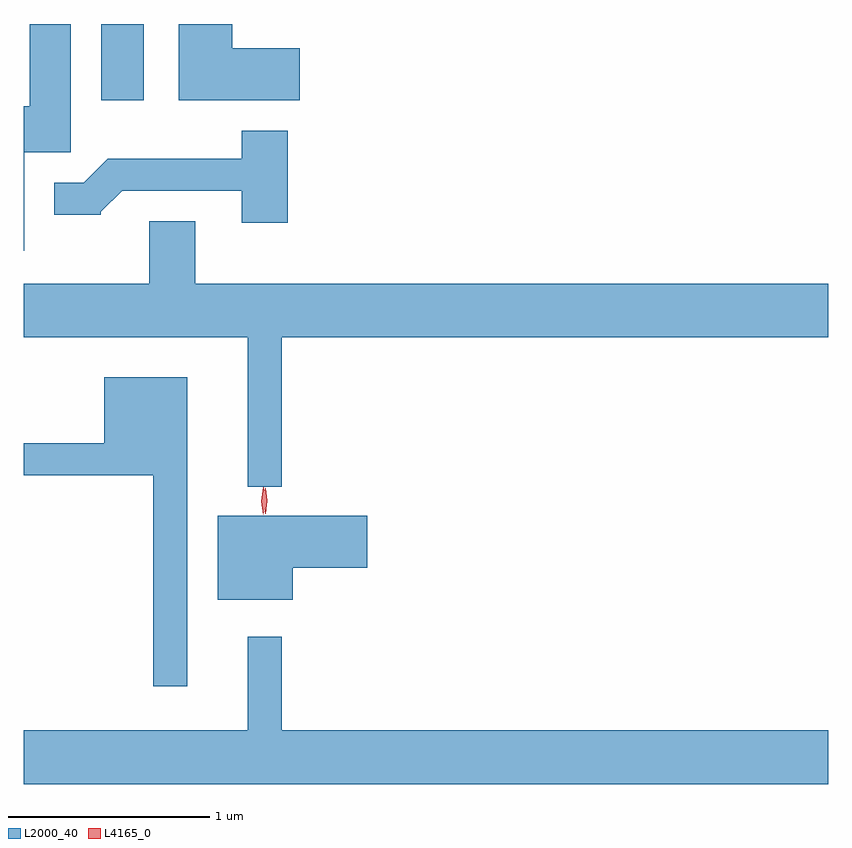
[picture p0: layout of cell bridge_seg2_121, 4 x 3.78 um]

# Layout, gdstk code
import gdstk
lib = gdstk.Library(unit=1e-6, precision=1e-09)
def R(c, l, rs):  # rectangles x0, y0, x1, y1
    for r in rs: c.add(gdstk.rectangle(r[:2], r[2:], *l))
def P(c, l, *ps):  # polygons
    for p in ps: c.add(gdstk.Polygon(p, *l))
L2000_40 = (2000, 40)
L4165_0 = (4165, 0)

bridge_seg2_121 = lib.new_cell('bridge_seg2_121')
R(bridge_seg2_121, L2000_40, [(997.831,1049.496,998.044,1049.874)])
P(bridge_seg2_121, L2000_40, [(998.819,1049.754),(998.484,1049.754),(998.484,1049.874),(998.216,1049.874),(998.216,1049.496),(998.819,1049.496)],
  [(997.449,1049.236),(997.679,1049.236),(997.679,1049.874),(997.476,1049.874),(997.476,1049.464),(997.446,1049.464),(997.446,1048.746),(997.449,1048.746)],
  [(998.759,1049.344),(998.531,1049.344),(998.531,1049.204),(997.864,1049.204),(997.744,1049.084),(997.598,1049.084),(997.598,1048.926),(997.83,1048.926),(997.83,1048.94),(997.937,1049.046),(998.531,1049.046),(998.531,1048.886),(998.759,1048.886)],
  [(998.729,1048.316),(1001.446,1048.316),(1001.446,1048.584),(998.299,1048.584),(998.299,1048.894),(998.071,1048.894),(998.071,1048.584),(997.446,1048.584),(997.446,1048.316),(998.561,1048.316),(998.561,1047.573),(998.729,1047.573)],
  [(998.259,1048.119),(997.846,1048.119),(997.846,1047.789),(997.446,1047.789),(997.446,1047.631),(998.091,1047.631),(998.091,1046.583),(998.259,1046.583)],
  [(998.784,1047.171),(999.154,1047.171),(999.154,1047.429),(998.411,1047.429),(998.411,1047.011),(998.784,1047.011)],
  [(1001.446,1046.364),(998.729,1046.364),(998.729,1046.828),(998.561,1046.828),(998.561,1046.364),(997.446,1046.364),(997.446,1046.096),(1001.446,1046.096)])
P(bridge_seg2_121, L4165_0, [(998.648,1047.44),(998.648,1047.44),(998.638,1047.503),(998.648,1047.566),(998.648,1047.567),(998.649,1047.566),(998.658,1047.503),(998.649,1047.44)],
  [(998.636,1047.434),(998.636,1047.434),(998.627,1047.502),(998.638,1047.57),(998.638,1047.57),(998.639,1047.57),(998.647,1047.502),(998.637,1047.434)])

lib.write_gds('bridge_seg2_121.gds')
